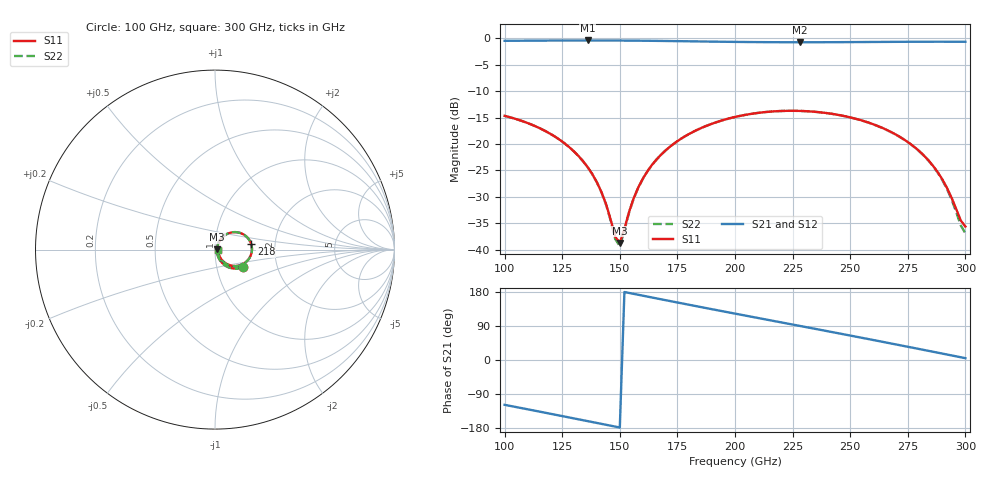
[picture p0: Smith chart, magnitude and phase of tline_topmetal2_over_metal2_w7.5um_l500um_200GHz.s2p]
#  GHZ S DB R 50
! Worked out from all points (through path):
!   101 points, 100 GHz to 300 GHz, reference 50 ohm
!   highest |S21| = -0.42 dB at 136 GHz (marker M1); lowest = -0.8 dB at 228 GHz (marker M2)
!   group delay of S21, straight-line fit = 3.28 ps
!   lowest |S11| = -38.7 dB at 150 GHz (marker M3), VSWR 1.02, Z = 51.2 + j0.163 ohm
!   |S11| at or under -10 dB: start of sweep to end of sweep
!   |S22| runs from -39.3 to -13.7 dB; largest |S21 - S12| = 1.6e-14
!   S11 on the Smith chart (normalised r, x): 100 GHz: 1.34, -0.27; 218 GHz: 1.50, +0.09; 300 GHz: 1.03, -0.00
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100  -14.68 -31.5  -0.49 -118.3  -0.49 -118.3  -14.68 -31.7
120  -18.11 -52.3  -0.44 -142.0  -0.44 -142.0  -18.12 -52.7
134  -23.23 -64.1  -0.42 -158.8  -0.42 -158.8  -23.24 -64.8
136  -24.35 -65.1  -0.42 -161.3  -0.42 -161.3  -24.37 -65.9
142  -29.05 -64.0  -0.43 -168.5  -0.43 -168.5  -29.10 -65.3
148  -37.51 -30.7  -0.44 -175.8  -0.44 -175.8  -37.95 -32.8
150  -38.71 7.9  -0.44 -178.2  -0.44 -178.2  -39.32 8.4
154  -32.87 53.1  -0.45 177.0  -0.45 177.0  -33.03 54.7
158  -28.23 61.6  -0.47 172.1  -0.47 172.1  -28.29 62.6
168  -21.98 59.1  -0.51 160.1  -0.51 160.1  -22.00 59.5
182  -17.66 46.6  -0.60 143.5  -0.60 143.5  -17.67 46.8
200  -14.89 27.9  -0.70 122.4  -0.70 122.4  -14.90 27.9
218  -13.80 8.5  -0.75 101.6  -0.75 101.6  -13.81 8.4
228  -13.75 -2.3  -0.76 90.1  -0.76 90.1  -13.75 -2.5
234  -13.89 -8.8  -0.76 83.1  -0.76 83.1  -13.89 -9.0
250  -14.97 -25.8  -0.73 64.5  -0.73 64.5  -14.98 -26.2
268  -17.79 -44.1  -0.69 43.3  -0.69 43.3  -17.81 -44.8
278  -20.61 -52.7  -0.67 31.3  -0.67 31.3  -20.65 -53.8
286  -24.14 -56.6  -0.66 21.7  -0.66 21.7  -24.22 -58.4
292  -28.30 -53.5  -0.66 14.5  -0.66 14.5  -28.50 -56.4
298  -34.46 -24.9  -0.67 7.2  -0.67 7.2  -35.40 -28.4
300  -35.61 -0.4  -0.67 4.8  -0.67 4.8  -36.89 -0.5
